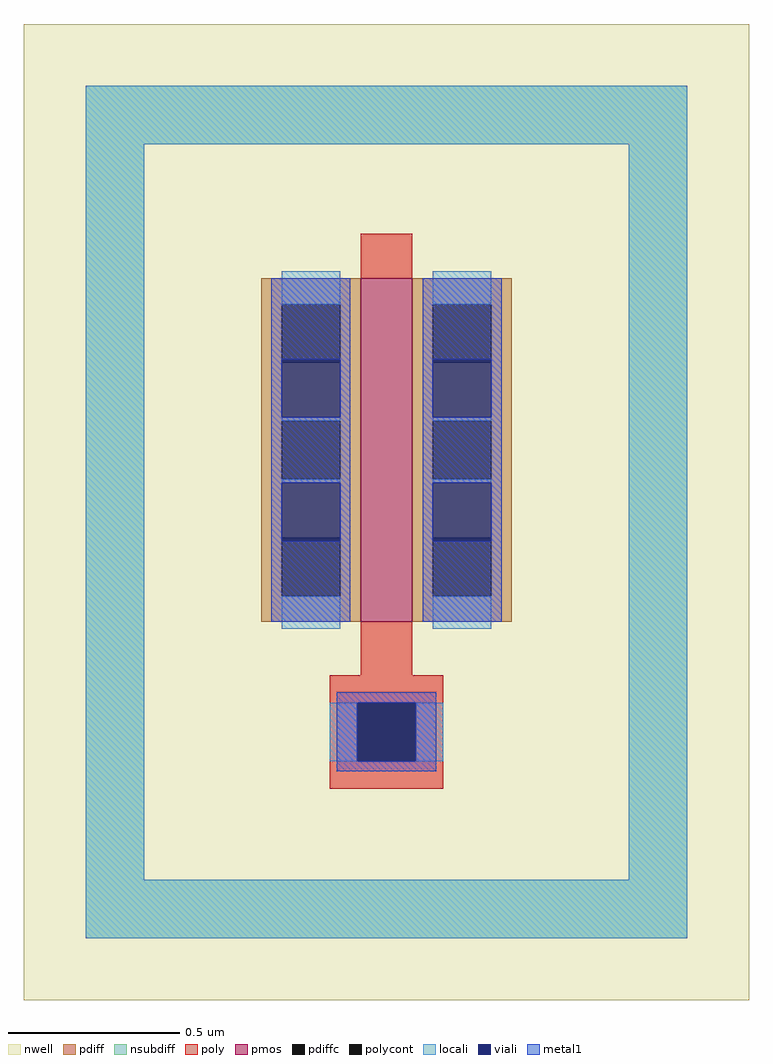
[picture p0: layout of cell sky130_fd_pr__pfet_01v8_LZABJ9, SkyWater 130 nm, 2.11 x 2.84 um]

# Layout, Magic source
magic
tech sky130B
magscale 1 2
<< nwell >>
rect -211 -284 211 284
<< pmos >>
rect -15 -64 15 136
<< pdiff >>
rect -73 121 -15 136
rect -73 87 -61 121
rect -27 87 -15 121
rect -73 53 -15 87
rect -73 19 -61 53
rect -27 19 -15 53
rect -73 -15 -15 19
rect -73 -49 -61 -15
rect -27 -49 -15 -15
rect -73 -64 -15 -49
rect 15 121 73 136
rect 15 87 27 121
rect 61 87 73 121
rect 15 53 73 87
rect 15 19 27 53
rect 61 19 73 53
rect 15 -15 73 19
rect 15 -49 27 -15
rect 61 -49 73 -15
rect 15 -64 73 -49
<< pdiffc >>
rect -61 87 -27 121
rect -61 19 -27 53
rect -61 -49 -27 -15
rect 27 87 61 121
rect 27 19 61 53
rect 27 -49 61 -15
<< nsubdiff >>
rect -175 214 175 248
rect -175 -214 -141 214
rect 141 -214 175 214
rect -175 -248 175 -214
<< poly >>
rect -15 136 15 162
rect -15 -95 15 -64
rect -33 -111 33 -95
rect -33 -145 -17 -111
rect 17 -145 33 -111
rect -33 -161 33 -145
<< polycont >>
rect -17 -145 17 -111
<< locali >>
rect -175 214 175 248
rect -175 -214 -141 214
rect -61 121 -27 140
rect -61 53 -27 55
rect -61 17 -27 19
rect -61 -68 -27 -49
rect 27 121 61 140
rect 27 53 61 55
rect 27 17 61 19
rect 27 -68 61 -49
rect -33 -145 -17 -111
rect 17 -145 33 -111
rect 141 -214 175 214
rect -175 -248 175 -214
<< viali >>
rect -61 87 -27 89
rect -61 55 -27 87
rect -61 -15 -27 17
rect -61 -17 -27 -15
rect 27 87 61 89
rect 27 55 61 87
rect 27 -15 61 17
rect 27 -17 61 -15
rect -17 -145 17 -111
<< metal1 >>
rect -67 89 -21 136
rect -67 55 -61 89
rect -27 55 -21 89
rect -67 17 -21 55
rect -67 -17 -61 17
rect -27 -17 -21 17
rect -67 -64 -21 -17
rect 21 89 67 136
rect 21 55 27 89
rect 61 55 67 89
rect 21 17 67 55
rect 21 -17 27 17
rect 61 -17 67 17
rect 21 -64 67 -17
rect -29 -111 29 -105
rect -29 -145 -17 -111
rect 17 -145 29 -111
rect -29 -151 29 -145
<< properties >>
string FIXED_BBOX -158 -231 158 231
<< end >>
